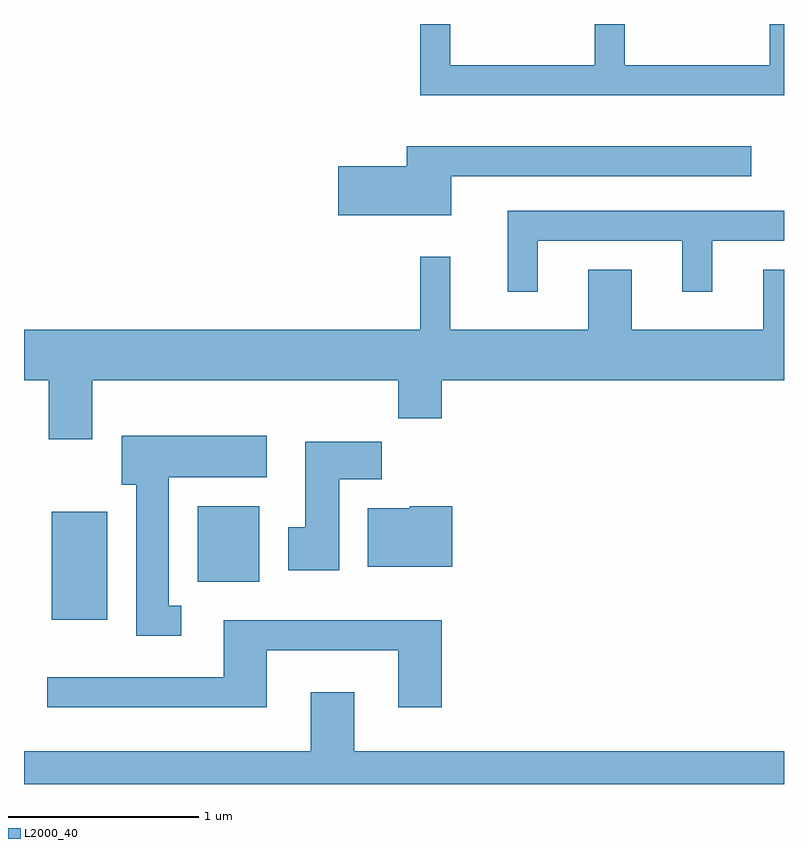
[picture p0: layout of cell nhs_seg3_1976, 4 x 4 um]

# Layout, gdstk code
import gdstk
lib = gdstk.Library(unit=1e-6, precision=1e-09)
def R(c, l, rs):  # rectangles x0, y0, x1, y1
    for r in rs: c.add(gdstk.rectangle(r[:2], r[2:], *l))
def P(c, l, *ps):  # polygons
    for p in ps: c.add(gdstk.Polygon(p, *l))
L2000_40 = (2000, 40)

nhs_seg3_1976 = lib.new_cell('nhs_seg3_1976')
R(nhs_seg3_1976, L2000_40, [(243.756,1124.756,244.049,1125.324), (244.526,1124.956,244.849,1125.354)])
P(nhs_seg3_1976, L2000_40, [(247.611,1127.892),(247.536,1127.892),(247.536,1127.674),(246.774,1127.674),(246.774,1127.892),(246.616,1127.892),(246.616,1127.674),(245.854,1127.674),(245.854,1127.892),(245.696,1127.892),(245.696,1127.516),(247.611,1127.516)],
  [(245.859,1127.091),(247.438,1127.091),(247.438,1127.249),(245.626,1127.249),(245.626,1127.144),(245.266,1127.144),(245.266,1126.886),(245.859,1126.886)],
  [(246.314,1126.751),(247.076,1126.751),(247.076,1126.483),(247.234,1126.483),(247.234,1126.751),(247.611,1126.751),(247.611,1126.909),(246.156,1126.909),(246.156,1126.483),(246.314,1126.483)],
  [(243.969,1126.016),(245.581,1126.016),(245.581,1125.816),(245.809,1125.816),(245.809,1126.016),(247.611,1126.016),(247.611,1126.599),(247.501,1126.599),(247.501,1126.284),(246.809,1126.284),(246.809,1126.599),(246.581,1126.599),(246.581,1126.284),(245.854,1126.284),(245.854,1126.668),(245.696,1126.668),(245.696,1126.284),(243.611,1126.284),(243.611,1126.016),(243.741,1126.016),(243.741,1125.706),(243.969,1125.706)],
  [(244.438,1124.829),(244.374,1124.829),(244.374,1125.506),(244.889,1125.506),(244.889,1125.724),(244.126,1125.724),(244.126,1125.466),(244.201,1125.466),(244.201,1124.671),(244.438,1124.671)],
  [(245.269,1125.496),(245.494,1125.496),(245.494,1125.694),(245.091,1125.694),(245.091,1125.244),(245.001,1125.244),(245.001,1125.016),(245.269,1125.016)],
  [(245.864,1125.354),(245.64,1125.354),(245.64,1125.344),(245.421,1125.344),(245.421,1125.036),(245.864,1125.036)],
  [(244.889,1124.596),(245.581,1124.596),(245.581,1124.296),(245.809,1124.296),(245.809,1124.754),(244.661,1124.754),(244.661,1124.454),(243.733,1124.454),(243.733,1124.296),(244.889,1124.296)],
  [(247.611,1124.064),(245.349,1124.064),(245.349,1124.374),(245.121,1124.374),(245.121,1124.064),(243.611,1124.064),(243.611,1123.892),(247.611,1123.892)])

lib.write_gds('nhs_seg3_1976.gds')
